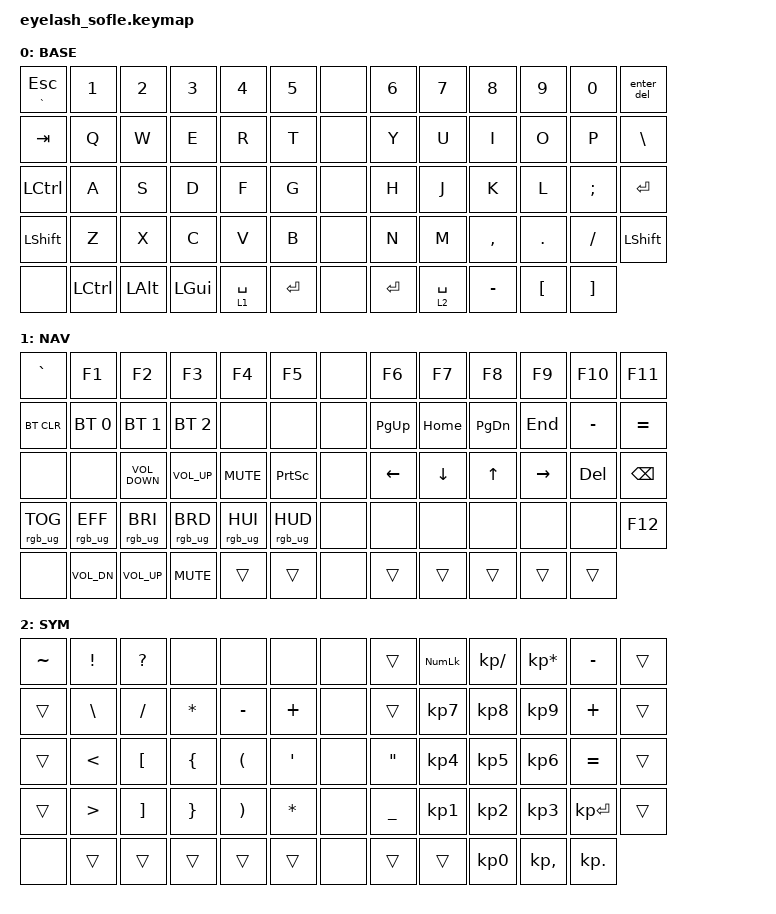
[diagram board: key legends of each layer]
#include <behaviors.dtsi>
#include <dt-bindings/zmk/bt.h>
#include <dt-bindings/zmk/keys.h>
#include <dt-bindings/zmk/rgb.h>

// Wir nutzen RA() für Right-Alt (AltGr) Kombinationen des US-Intl Layouts
/* * US-International Umlaute Definitionen
 * Benötigt "English (US, intl., with dead keys)" im OS!
 */

#define DE_AE RA(Q)
#define DE_OE RA(P)
#define DE_UE RA(Y)
#define DE_SS RA(S)

/ {
    combos {
        compatible = "zmk,combos";
        timeout-ms = <50>;

        /* VIM ESCAPE: J + K gleichzeitig */

        combo_esc {
            timeout-ms = <50>;
            key-positions = <35 34>;
            bindings = <&kp ESC>;
        };

        /* Umlaute mit den neuen RA() Bindings */

        combo_ae {
            key-positions = <27 28>;
            bindings = <&kp DE_AE>;
        };

        combo_oe {
            key-positions = <22 23>;
            bindings = <&kp DE_OE>;
        };

        combo_ue {
            key-positions = <21 22>;
            bindings = <&kp DE_UE>;
        };

        combo_ss {
            key-positions = <28 29>;
            bindings = <&kp DE_SS>;
        };
    };

    behaviors {
        enter_del: enter_del {
            compatible = "zmk,behavior-mod-morph";
            label = "ENTER_DEL";
            bindings = <&kp BACKSPACE>, <&kp DELETE>;

            #binding-cells = <0>;
            mods = <(MOD_LSFT|MOD_RSFT)>;
        };
    };

    keymap {
        compatible = "zmk,keymap";

        /* LAYER 0 – BASE */

        layer0 {
            display-name = "BASE";
            bindings = <
&mt GRAVE ESCAPE  &kp N1     &kp N2        &kp N3    &kp N4       &kp N5       &none  &kp N6     &kp N7       &kp N8     &kp N9            &kp N0             &enter_del
&kp TAB           &kp Q      &kp W         &kp E     &kp R        &kp T        &none  &kp Y      &kp U        &kp I      &kp O             &kp P              &kp BSLH
&kp LCTRL         &kp A      &kp S         &kp D     &kp F        &kp G        &none  &kp H      &kp J        &kp K      &kp L             &kp SEMI           &kp ENTER
&kp LSHFT         &kp Z      &kp X         &kp C     &kp V        &kp B        &none  &kp N      &kp M        &kp COMMA  &kp DOT           &kp FSLH           &kp LSHFT
&none             &kp LCTRL  &kp LEFT_ALT  &kp LGUI  &lt 1 SPACE  &kp ENTER    &none  &kp ENTER  &lt 2 SPACE  &kp MINUS  &kp LEFT_BRACKET  &kp RIGHT_BRACKET
            >;
        };

        /* LAYER 1 – NAV (Linker Daumen hält) -> Rechte Hand navigiert */

        layer_1 {
            display-name = "NAV";
            bindings = <
&kp GRAVE        &kp F1           &kp F2             &kp F3           &kp F4           &kp F5             &none  &kp F6          &kp F7    &kp F8        &kp F9     &kp F10     &kp F11
&bt BT_CLR       &bt BT_SEL 0     &bt BT_SEL 1       &bt BT_SEL 2     &none            &none              &none  &kp PG_UP       &kp HOME  &kp PG_DN     &kp END    &kp MINUS   &kp EQUAL
&none            &none            &kp C_VOLUME_DOWN  &kp C_VOLUME_UP  &kp K_MUTE       &kp PRINTSCREEN    &none  &kp LEFT_ARROW  &kp DOWN  &kp UP_ARROW  &kp RIGHT  &kp DELETE  &kp BACKSPACE
&rgb_ug RGB_TOG  &rgb_ug RGB_EFF  &rgb_ug RGB_BRI    &rgb_ug RGB_BRD  &rgb_ug RGB_HUI  &rgb_ug RGB_HUD    &none  &none           &none     &none         &none      &none       &kp F12
&none            &kp C_VOL_DN     &kp C_VOL_UP       &kp K_MUTE       &trans           &trans             &none  &trans          &trans    &trans        &trans     &trans
            >;
        };      /* LAYER 2 – SYM & NUM (Rechter Daumen hält) -> Linke Hand macht Klammern */
        layer_3 {
            display-name = "SYM";
            bindings = <
&kp TILDE  &kp EXCLAMATION   &kp QUESTION       &none            &none                  &none       &none  &trans             &kp KP_NUM  &kp KP_DIVIDE    &kp KP_MULTIPLY  &kp MINUS     &trans
&trans     &kp BACKSLASH     &kp SLASH          &kp ASTERISK     &kp MINUS              &kp PLUS    &none  &trans             &kp KP_N7   &kp KP_N8        &kp KP_N9        &kp PLUS      &trans
&trans     &kp LESS_THAN     &kp LEFT_BRACKET   &kp LEFT_BRACE   &kp LEFT_PARENTHESIS   &kp SQT     &none  &kp DOUBLE_QUOTES  &kp KP_N4   &kp KP_N5        &kp KP_N6        &kp EQUAL     &trans
&trans     &kp GREATER_THAN  &kp RIGHT_BRACKET  &kp RIGHT_BRACE  &kp RIGHT_PARENTHESIS  &kp STAR    &none  &kp UNDER          &kp KP_N1   &kp KP_N2        &kp KP_N3        &kp KP_ENTER  &trans
&none      &trans            &trans             &trans           &trans                 &trans      &none  &trans             &trans      &kp KP_NUMBER_0  &kp KP_COMMA     &kp KP_DOT
            >;
        };
    };
};
